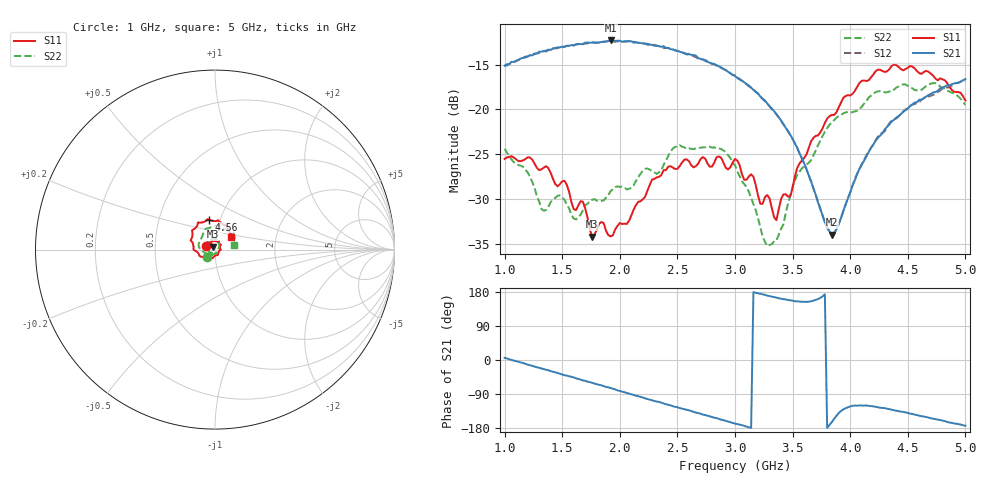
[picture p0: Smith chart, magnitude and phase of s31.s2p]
! Fachhochschule Frankfurt am Main - Electrotechnik Labor
! January 22, 2015 - 15:14
! This file was generated by Network Analyzer Importer software
! Data was imported from Network Analyzer HEWLETT PACKARD,8722A,0,1.03
! Two-port S-parameter data
# GHZ S MA R 50
! Freq  MagS11  AngS11  MagS21  AngS21  MagS12  AngS12  MagS22  AngS22
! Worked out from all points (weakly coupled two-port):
!   201 points, 1 GHz to 5 GHz, reference 50 ohm
!   highest |S21| = -12.28 dB at 1.92 GHz (marker M1); lowest = -34.0 dB at 3.84 GHz (marker M2)
!   lowest |S11| = -34.2 dB at 1.76 GHz (marker M3), VSWR 1.04, Z = 49 + j1.66 ohm
!   |S11| at or under -10 dB: start of sweep to end of sweep
!   |S22| runs from -35.3 to -17.1 dB; largest |S21 - S12| = 0.0056
!   S11 on the Smith chart (normalised r, x): 1 GHz: 0.91, +0.04; 4.56 GHz: 0.89, +0.31; 5 GHz: 1.18, +0.16
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1  0.05291 157.3  0.1756 5.6  0.1754 5.4  0.06034 -135.3
1.34  0.0473 128.9  0.2117 -23.8  0.2121 -24.0  0.02717 -153.5
1.48  0.03827 120.1  0.2223 -36.4  0.2232 -36.4  0.03307 -141.8
1.6  0.02774 121.5  0.2285 -45.9  0.2276 -46.5  0.02457 -131.2
1.68  0.03045 118.6  0.2325 -53.7  0.2316 -53.4  0.02734 -140.3
1.76  0.01942 119.5  0.2365 -60.3  0.2378 -60.4  0.03127 -141.8
1.84  0.02351 124.9  0.238 -66.8  0.2394 -67.0  0.03086 -146.9
1.92  0.01954 130.4  0.2431 -73.9  0.2408 -74.6  0.03495 -156.4
2.34  0.042 148.2  0.2259 -110.6  0.2256 -111.5  0.04456 152.7
2.52  0.04827 131.5  0.2102 -126.9  0.2125 -127.1  0.06305 129.3
3  0.05289 64.7  0.1537 -167.8  0.1558 -167.1  0.04883 69.9
3.16  0.04207 40.0  0.1285 179.5  0.1293 179.3  0.02972 38.5
3.22  0.02968 22.3  0.1181 174.6  0.1178 174.9  0.02194 19.3
3.28  0.03323 -2.3  0.108 169.9  0.1077 170.5  0.01722 -16.2
3.36  0.02407 -36.1  0.09417 164.6  0.09371 164.6  0.01853 -62.7
3.52  0.0422 -100.5  0.06451 155.1  0.06466 155.6  0.04027 -122.9
3.68  0.06932 -130.3  0.03622 156.6  0.03644 156.6  0.05533 -157.7
3.84  0.09321 -159.3  0.01997 -164.1  0.0204 -163.0  0.08458 176.2
4.34  0.168 125.4  0.08248 -130.1  0.08384 -129.3  0.1262 99.5
4.56  0.1698 100.6  0.1092 -144.2  0.1073 -145.4  0.1283 68.8
4.74  0.1488 74.0  0.1252 -156.3  0.122 -156.2  0.1403 43.0
5  0.1122 37.0  0.1479 -173.5  0.1449 -174.0  0.106 12.6
